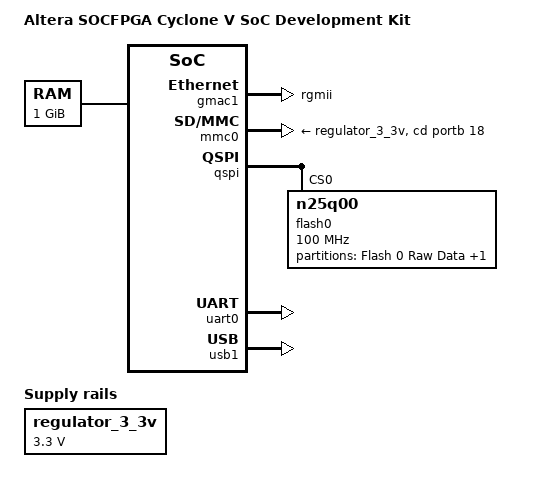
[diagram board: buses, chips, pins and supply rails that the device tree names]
/*
 * Copyright Altera Corporation (C) 2012,2014. All rights reserved.
 *
 * This program is free software; you can redistribute it and/or modify
 * it under the terms and conditions of the GNU General Public License,
 * version 2, as published by the Free Software Foundation.
 *
 * This program is distributed in the hope it will be useful, but WITHOUT
 * ANY WARRANTY; without even the implied warranty of MERCHANTABILITY or
 * FITNESS FOR A PARTICULAR PURPOSE.  See the GNU General Public License for
 * more details.
 *
 * You should have received a copy of the GNU General Public License along with
 * this program.  If not, see <http://www.gnu.org/licenses/>.
 */

#include "socfpga_cyclone5.dtsi"

/ {
	model = "Altera SOCFPGA Cyclone V SoC Development Kit";
	compatible = "altr,socfpga-cyclone5", "altr,socfpga";

	chosen {
		bootargs = "earlyprintk";
		stdout-path = "serial0:115200n8";
	};

	memory {
		name = "memory";
		device_type = "memory";
		reg = <0x0 0x40000000>; /* 1GB */
	};

	aliases {
		/* this allow the ethaddr uboot environmnet variable contents
		 * to be added to the gmac1 device tree blob.
		 */
		ethernet0 = &gmac1;
	};

	regulator_3_3v: 3-3-v-regulator {
		compatible = "regulator-fixed";
		regulator-name = "3.3V";
		regulator-min-microvolt = <3300000>;
		regulator-max-microvolt = <3300000>;
	};

	base_fpga_region: base-fpga-region {
		compatible = "fpga-region";
		fpga-mgr = <&fpga_mgr0>;
		fpga-bridges = <&fpga_bridge0>, <&fpga_bridge1>;

		#address-cells = <0x1>;
		#size-cells = <0x1>;
		ranges = <0 0xff200000 0x100000>,
			 <1 0xc0000000 0x20000000>;
	};

};

&gmac1 {
	status = "okay";
	phy-mode = "rgmii";

	rxd0-skew-ps = <0>;
	rxd1-skew-ps = <0>;
	rxd2-skew-ps = <0>;
	rxd3-skew-ps = <0>;
	txen-skew-ps = <0>;
	txc-skew-ps = <2600>;
	rxdv-skew-ps = <0>;
	rxc-skew-ps = <2000>;
	max-frame-size = <3800>;
};

&mmc0 {
	cd-gpios = <&portb 18 0>;
	vmmc-supply = <&regulator_3_3v>;
	vqmmc-supply = <&regulator_3_3v>;
};

&qspi {
	status = "okay";
	flash0: n25q00@0 {
		#address-cells = <1>;
		#size-cells = <1>;
		compatible = "n25q00";
		reg = <0>;      /* chip select */
		spi-max-frequency = <100000000>;

		cdns,page-size = <256>;
		cdns,block-size = <16>;
		cdns,read-delay = <4>;
		cdns,tshsl-ns = <50>;
		cdns,tsd2d-ns = <50>;
		cdns,tchsh-ns = <4>;
		cdns,tslch-ns = <4>;

		partition@qspi-boot {
			/* 8MB for raw data. */
			label = "Flash 0 Raw Data";
			reg = <0x0 0x800000>;
		};
		partition@qspi-rootfs {
			/* 120MB for jffs2 data. */
			label = "Flash 0 jffs2 Filesystem";
			reg = <0x800000 0x7800000>;
		};
	};
};

&uart0 {
	status = "okay";
};

&usb1 {
	status = "okay";
};
